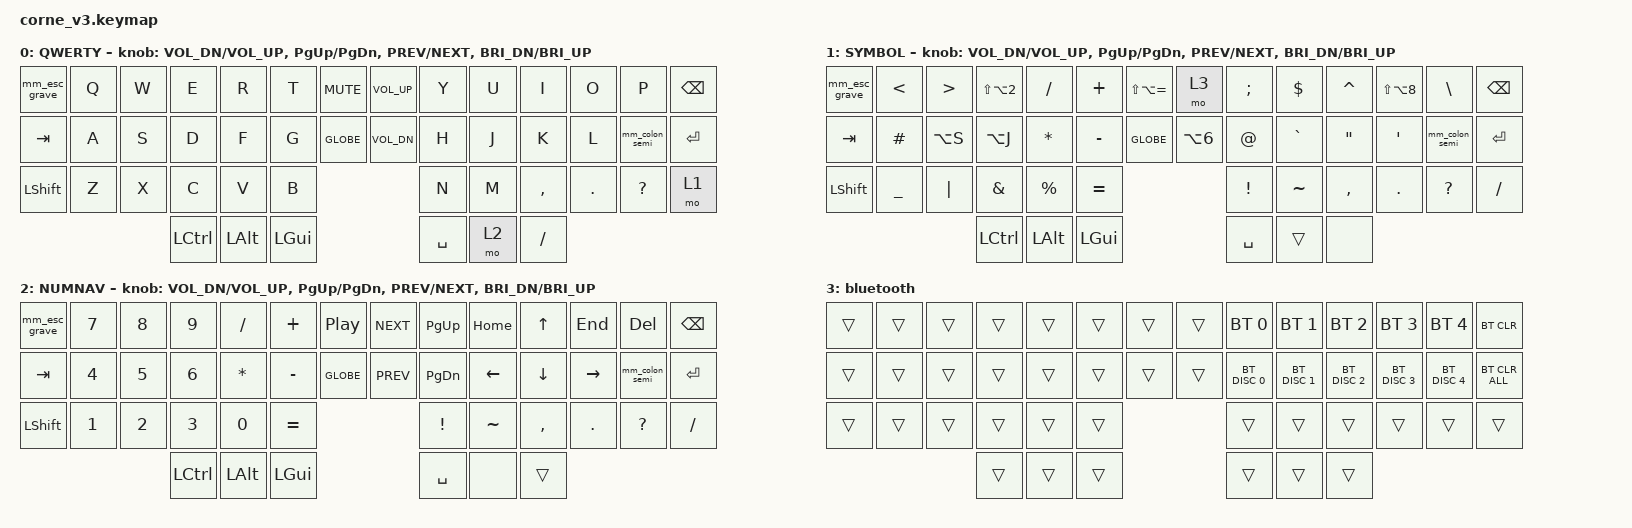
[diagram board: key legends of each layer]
/*
 * Copyright (c) 2020 The ZMK Contributors
 *
 * SPDX-License-Identifier: MIT
 *
 * corne_v3 -- started as a byte-for-byte copy of config/corne_v2.keymap, on the
 * same corne_v1 hardware. Everything below is inherited from v2 and describes
 * the NumNav layout as it stood at that point; edit freely, and prune this
 * header as v3 diverges.
 *
 * NumNav layout -- transcribed from
 *   kb-corne/layouts/keyboard-layout_2h_mod_v04_numnav.json
 *
 * The difference from corne_v1: that keymap has one combined NUM/SYM
 * layer plus an FN layer. Here the two are split by purpose --
 *
 *   layer 1  SYMBOL   punctuation and special glyphs, no digits
 *   layer 2  NUMNAV   numpad on the LEFT, navigation on the RIGHT
 *
 * which is what frees the base layer's bottom-right corner: the arrow keys move
 * to NUMNAV's IJKL cluster, and `,` `.` `?` `/` get their own keys instead of
 * sharing one mod-morph. Both layer keys now sit on the right thumb.
 *
 * corne_v1's extras are NOT carried over -- Shift->[ ] on < and >, the
 * S+D underscore combo and Globe doubling as a layer key are all gone. The one
 * kept on purpose is mm_esc_grave (Cmd+Esc -> Cmd+`), which is a mac window
 * shortcut rather than a layout choice.
 *
 * Nothing falls through between layers except the two layer keys themselves:
 * a key the layout draws on all three layers is BOUND on all three, so the
 * keymap reads the same way the KLE does.
 *
 * Key positions (46). Positions 6/7 and 20/21 are the two inner columns that
 * only exist on the top two rows.
 *
 *    0  1  2  3  4  5  6      7  8  9 10 11 12 13
 *   14 15 16 17 18 19 20     21 22 23 24 25 26 27
 *   28 29 30 31 32 33           34 35 36 37 38 39
 *            40 41 42           43 44 45
 */

#include <behaviors.dtsi>
#include <dt-bindings/zmk/bt.h>
#include <dt-bindings/zmk/keys.h>

/ {
    chosen { zmk,physical-layout = &default_layout; };
};

/ {
    behaviors {
        // mm_colon_semi is asked for by the layout: the KLE draws ";" above ":"
        // on that key, the inverse of a US board.

        mm_colon_semi: mm_colon_semi {
            compatible = "zmk,behavior-mod-morph";
            #binding-cells = <0>;
            bindings = <&kp COLON>, <&kp SEMI>;

            mods = <(MOD_LSFT|MOD_RSFT)>;
        };

        // ESC key: tap = Esc, Cmd+Esc -> Cmd+`  (mac window/tab cycling).
        // keep-mods keeps Cmd applied to the morphed `.

        mm_esc_grave: mm_esc_grave {
            compatible = "zmk,behavior-mod-morph";
            #binding-cells = <0>;
            bindings = <&kp ESC>, <&kp GRAVE>;

            mods = <(MOD_LGUI|MOD_RGUI)>;
            keep-mods = <(MOD_LGUI|MOD_RGUI)>;
        };
    };

    macros {
        // The ONE remaining Unicode Hex Input macro. Every other glyph on SYMBOL
        // is a native Option chord in the standard U.S. layout (see the layer
        // comment), so the hex-input input source is no longer needed for them --
        // which is what keeps Option free for word navigation (opt+arrow, opt+bspc).
        //
        // U+2192 has no Option chord in the U.S. layout, so this key alone still
        // requires "Unicode Hex Input" to be the ACTIVE input source: hold Option,
        // type the 4 hex digits, release. On the U.S. layout it types nothing.

        uni_rarr: uni_rarr {
            compatible = "zmk,behavior-macro";
            #binding-cells = <0>;
            bindings =
                <&macro_press>,
                <&kp LALT>,
                <&macro_tap>,
                <&kp N2 &kp N1 &kp N9 &kp N2>,
                <&macro_release>,
                <&kp LALT>;

            label = "URARR";
        };
    };

    combos {
        compatible = "zmk,combos";

        /*
         * BRACKETS -- left hand opens, right hand closes, one row per pair.
         * Since "move parentheses in" (e8ca9d4) these sit one column inward, on
         * the middle+index fingers rather than the index stretch:
         *
         *     E+R  {        }  U+I        top row
         *     D+F  (        )  J+K        home row   <- most frequent pair, easiest reach
         *     C+V  [        ]  M+,        bottom row
         *
         * Moving them in cost the property the outer positions had for free.
         * R+T, Y+U, F+G, H+J, V+B and N+M were all SAME-FINGER pairs: you
         * physically cannot roll a same-finger pair fast, so the 50ms window was
         * enough on its own. Middle+index pairs are the EASIEST rolls on the
         * board, and two of the six are ordinary English sequences -- "er"
         * (very, here, there, over) and "m," (problem, system, them). That is
         * why { and ] started appearing in plain prose.
         *
         * require-prior-idle-ms replaces the lost same-finger safety: the combo
         * is ignored if any non-modifier key was pressed within 150ms before it.
         * A mid-word roll always has a keystroke right behind it, so it is
         * blocked; a deliberate bracket, reached after the small pause you take
         * anyway, is not. 150ms is what the home-row mods in perpetual.keymap
         * already use.
         *
         * Both conditions must now hold for a combo to fire -- 150ms of quiet
         * BEFORE it and both keys inside 50ms -- so fast typing fails the first
         * and slow typing fails the second. The gap left is a word that STARTS
         * with one of the pairs, rolled fast, straight after a pause ("error").
         * If that still bites, move combo_lbrc back out to <4 5>, where "rt" is
         * same-finger again and needs no guard at all.
         *
         * Active on base and SYMBOL only. NUMNAV puts ~ and , on 35/36, and the
         * bluetooth layer is left alone.
         */

        combo_lbrc {
            timeout-ms = <50>;
            require-prior-idle-ms = <150>;
            key-positions = <4 3>;
            bindings = <&kp LBRC>;
            layers = <0 1>;
        };  // E+R -> {
        combo_rbrc {
            timeout-ms = <50>;
            require-prior-idle-ms = <150>;
            key-positions = <9 10>;
            bindings = <&kp RBRC>;
            layers = <0 1>;
        };  // U+I -> }
        combo_lpar {
            timeout-ms = <50>;
            require-prior-idle-ms = <150>;
            key-positions = <18 17>;
            bindings = <&kp LPAR>;
            layers = <0 1>;
        };  // D+F -> (
        combo_rpar {
            timeout-ms = <50>;
            require-prior-idle-ms = <150>;
            key-positions = <23 24>;
            bindings = <&kp RPAR>;
            layers = <0 1>;
        };  // J+K -> )
        combo_lbkt {
            timeout-ms = <50>;
            require-prior-idle-ms = <150>;
            key-positions = <32 31>;
            bindings = <&kp LBKT>;
            layers = <0 1>;
        };  // C+V -> [
        combo_rbkt {
            timeout-ms = <50>;
            require-prior-idle-ms = <150>;
            key-positions = <35 36>;
            bindings = <&kp RBKT>;
            layers = <0 1>;
        };  // M+, -> ]

        // BSPC + SPACE -> lock screen (Ctrl+Cmd+Q). The node name is historical:
        // this was &kp C_SLEEP on a key, which macOS ignores. No `layers`, so it
        // is live on every layer.
        //
        // This one arguably needed the guard most. Backspace followed straight
        // by a space is an ordinary correction, and inside the 50ms default
        // window that was a screen lock mid-sentence.
        sleep {
            timeout-ms = <50>;
            require-prior-idle-ms = <150>;
            key-positions = <13 43>;
            bindings = <&kp LC(LG(Q))>;
        };  // BSPC+SPACE -> lock

        // T+G -> ±. No `layers`, so it is global, and that is the point: on
        // SYMBOL and NUMNAV positions 5 and 19 are + and -, so the combo reads
        // as "press + and - together". (SYMBOL also has ± on its own key, pos 6.)
        //
        // Deliberately NO idle guard. T and G are both the left index finger --
        // this one still HAS the same-finger property the bracket pairs gave up,
        // so it cannot be rolled by accident and needs no protecting, and "tg" is
        // not an English sequence either. Guarding it would only get in the way
        // of a deliberate ± typed straight after a digit. If it ever moves off
        // the index column, give it the 150ms guard like the brackets.
        plusminus {
            timeout-ms = <50>;
            key-positions = <5 19>;
            bindings = <&kp LS(LA(EQUAL))>;
        };  // T+G -> ±

        // corne_v1's combo_under (S+D -> _) and combo_bt0/1/2/clr are not
        // carried over: "_" has its own key on SYMBOL, and bluetooth has its own
        // layer now rather than keys borrowed from NUMNAV.
    };

    keymap {
        compatible = "zmk,keymap";

        // ------------------------------------------------------------------------------------------
        // | ESC | Q | W | E | R | T | MUTE | VOL+ | Y | U | I | O |  P  | BSPC |
        // | TAB | A | S | D | F | G | GLOBE| VOL- | H | J | K | L | :/; | RET  |
        // | SHFT| Z | X | C | V | B |             | N | M | ,/< | ./> |  ?  |  /  |
        //                 | CTRL | ALT | CMD |   | SPACE | L1 | L2 |
        // Globe (left inner, pos 20) is just Globe -- emoji / input switching.
        // Both layer keys sit on the right thumb, the opposite hand from NUMNAV's
        // numpad. `?` and `/` are separate keys, so Shift-/ still gives `?` too.

        default_layer {
            display-name = "QWERTY";
            bindings = <
&mm_esc_grave  &kp Q  &kp W  &kp E      &kp R     &kp T     &kp C_MUTE  &kp C_VOL_UP  &kp Y      &kp U  &kp I      &kp O    &kp P           &kp BSPC
&kp TAB        &kp A  &kp S  &kp D      &kp F     &kp G     &kp GLOBE   &kp C_VOL_DN  &kp H      &kp J  &kp K      &kp L    &mm_colon_semi  &kp RET
&kp LSHFT      &kp Z  &kp X  &kp C      &kp V     &kp B                               &kp N      &kp M  &kp COMMA  &kp DOT  &kp QMARK       &mo 1
                             &kp LCTRL  &kp LALT  &kp LGUI                            &kp SPACE  &mo 2  &kp SLASH
            >;

            sensor-bindings = <&inc_dec_kp C_VOL_DN C_VOL_UP &inc_dec_kp PG_UP PG_DN &inc_dec_kp C_PREV C_NEXT &inc_dec_kp C_BRI_DN C_BRI_UP>;
        };

        // ------------------------------------------------------------------------------------------
        // | ESC | < | > | € | / | + |  ±  |  →  | ; | $ | ^ | ° |  \  | BSPC |
        // | TAB | # | ß | ∆ | * | - |GLOBE|  §  | @ | ` | " | ' | :/; | RET  |
        // | SHFT| _ | | | & | % | = |             |  ! | ~ | ,/< | ./> |  ?  |  /  |
        //                 | CTRL | ALT | CMD |   | SPACE | ▽ |    |
        // "~~" is gone: keys the layout repeats are BOUND here, not transparent.
        // Digits are NOT here -- they live on NUMNAV.
        //
        // GLYPHS. Six of the seven are native Option chords in the standard U.S.
        // layout, sent as plain &kp with implicit mods -- no macro, no special
        // input source, and Option keeps working for word navigation:
        //
        //     €  opt+shift+2     &kp LS(LA(N2))
        //     °  opt+shift+8     &kp LS(LA(N8))
        //     ±  opt+shift+=     &kp LS(LA(EQUAL))
        //     ß  opt+s           &kp LA(S)
        //     §  opt+6           &kp LA(N6)
        //     ∆  opt+j           &kp LA(J)
        //
        // opt+j is U+2206 INCREMENT, not U+0394 GREEK CAPITAL DELTA -- visually
        // near-identical, and the more correct character for engineering notation
        // anyway. The U.S. layout has no chord for real Δ.
        //
        // → (pos 7) is the exception: no Option chord exists, so it stays on the
        // uni_rarr hex macro and only works while "Unicode Hex Input" is active.
        //
        // `<` and `>` are plain &kp here -- corne_v1's Shift->[ ] morphs are
        // not carried over (see the file header), so the bracket combos have no
        // single-key fallback on this layout.

        symbol_layer {
            display-name = "SYMBOL";
            bindings = <
&mm_esc_grave  &kp LT     &kp GT     &kp LS(LA(N2))  &kp FSLH   &kp PLUS   &kp LS(LA(EQUAL))  &mo 3       &kp SEMI   &kp DLLR   &kp CARET  &kp LS(LA(N8))  &kp BSLH        &kp BSPC
&kp TAB        &kp HASH   &kp LA(S)  &kp LA(J)       &kp ASTRK  &kp MINUS  &kp GLOBE          &kp LA(N6)  &kp AT     &kp GRAVE  &kp DQT    &kp SQT         &mm_colon_semi  &kp RET
&kp LSHFT      &kp UNDER  &kp PIPE   &kp AMPS        &kp PRCNT  &kp EQUAL                                 &kp EXCL   &kp TILDE  &kp COMMA  &kp DOT         &kp QMARK       &kp FSLH
                                     &kp LCTRL       &kp LALT   &kp LGUI                                  &kp SPACE  &trans     &none
            >;

            sensor-bindings = <&inc_dec_kp C_VOL_DN C_VOL_UP &inc_dec_kp PG_UP PG_DN &inc_dec_kp C_PREV C_NEXT &inc_dec_kp C_BRI_DN C_BRI_UP>;
        };

        // ------------------------------------------------------------------------------------------
        // | ESC | 7 | 8 | 9 | / | + | PLAY | NEXT | PGUP | HOME | ↑ | END | DEL | BSPC |
        // | TAB | 4 | 5 | 6 | * | - |GLOBE | PREV | PGDN |  ←   | ↓ |  →  |     | RET  |
        // | SHFT| 1 | 2 | 3 | 0 | = |               | BT0 | BT1 | BT2 | BTclr |  |  |
        //                 | CTRL | ALT | CMD |   | SPACE | LOCK | ▽ |
        // LOCK (pos 44) = Ctrl+Cmd+Q. This was &kp C_SLEEP, which never worked:
        // C_SLEEP is Consumer-page usage 0x32 and macOS does not act on it (ZMK's
        // code table marks it untested on mac, confirmed only on Linux). C_POWER
        // is the code mac honours, but only on a deliberate press -- a tap is
        // ignored by design -- so a plain modifier chord is the better key here.
        // Numpad on the LEFT so the right thumb can hold the layer key (pos 45).
        // Right hand is a full nav block: HOME/↑/END over ←/↓/→, PgUp/PgDn on the
        // index stretch, Del next to Bspc.

        numnav_layer {
            display-name = "NUMNAV";
            bindings = <
&mm_esc_grave  &kp N7  &kp N8  &kp N9     &kp FSLH   &kp PLUS   &kp C_PP   &kp C_NEXT  &kp PG_UP  &kp HOME   &kp UP     &kp END     &kp DEL         &kp BSPC
&kp TAB        &kp N4  &kp N5  &kp N6     &kp ASTRK  &kp MINUS  &kp GLOBE  &kp C_PREV  &kp PG_DN  &kp LEFT   &kp DOWN   &kp RIGHT   &mm_colon_semi  &kp RET
&kp LSHFT      &kp N1  &kp N2  &kp N3     &kp N0     &kp EQUAL                         &kp EXCL   &kp TILDE  &kp COMMA  &kp PERIOD  &kp QUESTION    &kp SLASH
                               &kp LCTRL  &kp LALT   &kp LGUI                          &kp SPACE  &none      &trans
            >;

            sensor-bindings = <&inc_dec_kp C_VOL_DN C_VOL_UP &inc_dec_kp PG_UP PG_DN &inc_dec_kp C_PREV C_NEXT &inc_dec_kp C_BRI_DN C_BRI_UP>;
        };

        bluetooth {
            bindings = <
&trans  &trans  &trans  &trans  &trans  &trans  &trans  &trans  &bt BT_SEL 0   &bt BT_SEL 1   &bt BT_SEL 2   &bt BT_SEL 3   &bt BT_SEL 4   &bt BT_CLR
&trans  &trans  &trans  &trans  &trans  &trans  &trans  &trans  &bt BT_DISC 0  &bt BT_DISC 1  &bt BT_DISC 2  &bt BT_DISC 3  &bt BT_DISC 4  &bt BT_CLR_ALL
&trans  &trans  &trans  &trans  &trans  &trans                  &trans         &trans         &trans         &trans         &trans         &trans
                        &trans  &trans  &trans                  &trans         &trans         &trans
            >;
        };
    };
};
